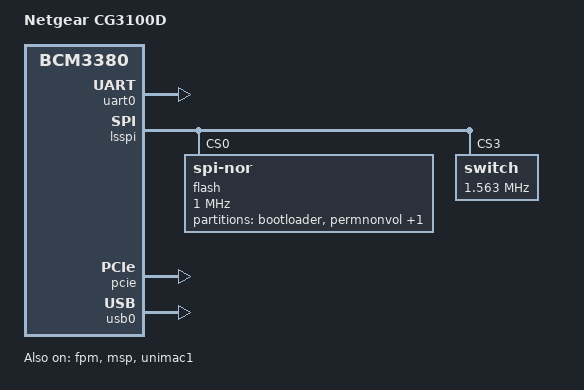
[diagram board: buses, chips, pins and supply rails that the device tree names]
// SPDX-License-Identifier: GPL-2.0-or-later

#include "bcm3380.dtsi"

/ {
	model = "Netgear CG3100D";
	compatible = "netgear,cg3100d", "brcm,bcm3380";

	bcm43225-sprom {
		compatible = "brcm,bcma-sprom";

		pci-bus = <1>;
		pci-dev = <0>;

		brcm,sprom = "brcm/bcm43225-sprom.bin";
	};
};

&uart0 {
	status = "okay";
};

&lsspi {
	status = "okay";

	pinctrl-names = "default";
	pinctrl-0 = <&pinctrl_lsspi_cs3>;

	flash@0 {
		compatible = "jedec,spi-nor";
		spi-max-frequency = <1000000>;
		spi-tx-bus-width = <1>;
		spi-rx-bus-width = <1>;
		reg = <0>;

		#address-cells = <1>;
		#size-cells = <1>;

		partitions {
			compatible = "fixed-partitions";
			#address-cells = <1>;
			#size-cells = <1>;

			partition@0 {
				label = "bootloader";
				reg = <0x000000 0x010000>;
				read-only;
			};

			partition@10000 {
				label = "permnonvol";
				reg = <0x010000 0x010000>;
				read-only;

				nvmem-layout {
					compatible = "brcm,ecos-nonvol-perm";
					brcm,slot-size = <0x4000>;
					brcm,section-offset = <0xca>;

					unimac1_ip_stack5_mac: mac-address {
						/*
						 * section + 0x0a -> CMAp
						 * CMAp + 0xb2 -> HAL IP Stack5 MAC
						 */
						brcm,record-path = <0x0a 0xb2>;
					};
				};
			};

			partition@20000 {
				compatible = "brcm,bcm3380-aeolus-firmware";
				label = "firmware";
				reg = <0x020000 0x7e0000>;
			};
		};
	};

	// The switch can only operate in unmanaged mode
	switch@3 {
		reg = <3>;
		spi-max-frequency = <1563000>;
	};
};

&fpm {
	status = "okay";
};

&msp {
	status = "okay";
};

&pcie {
	pcie-enable-gpios = <&gpio 27 GPIO_ACTIVE_HIGH>;
	status = "okay";
};

&leds {
	status = "okay";
	brcm,serial-dat-low;
	brcm,serial-shift-inv;

	gphy_mode@4 {
		reg = <4>;
		color = <LED_COLOR_ID_GREEN>;
		function = "gphy";
		default-state = "off";
	};

	gphy_activity@5 {
		reg = <5>;
		brcm,hardware-controlled;
		brcm,activity-signal-sources = <4>;
	};
};

&usb0 {
	status = "okay";
};

&unimac1_mbdma {
	status = "okay";
};

&unimac1 {
	nvmem-cells = <&unimac1_ip_stack5_mac>;
	nvmem-cell-names = "mac-address";
	status = "okay";
};
